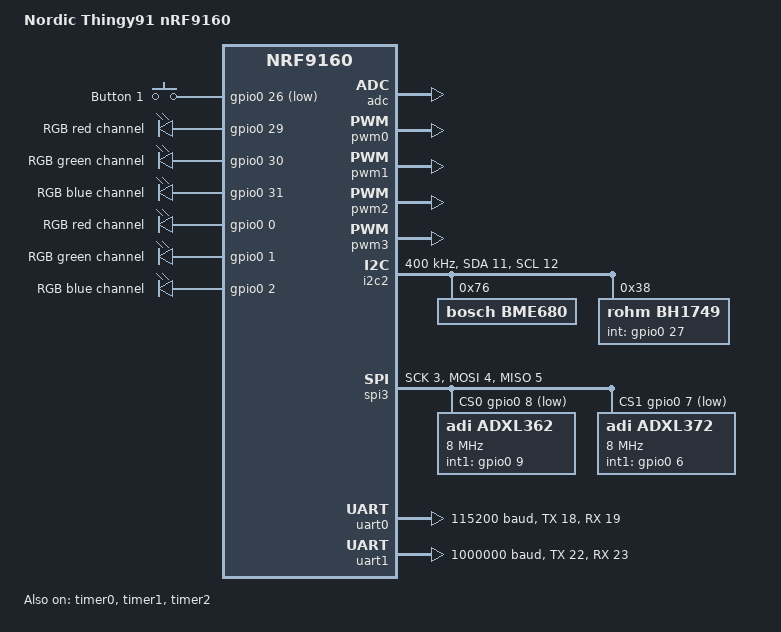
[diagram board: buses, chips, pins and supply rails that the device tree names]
/*
 * Copyright (c) 2019 Nordic Semiconductor ASA
 *
 * SPDX-License-Identifier: LicenseRef-Nordic-5-Clause
 */

/ {
	model = "Nordic Thingy91 nRF9160";
	compatible = "nordic,thingy91-nrf9160";

	chosen {
		zephyr,console = &uart0;
		zephyr,shell-uart = &uart0;
		zephyr,uart-mcumgr = &uart0;
	};

	buttons {
		compatible = "gpio-keys";

		button0: button_0 {
			gpios = <&gpio0 26 (GPIO_PULL_UP | GPIO_ACTIVE_LOW)>;
			label = "Button 1";
		};
	};

	leds {
		compatible = "gpio-leds";
		red_led: led_1 {
			gpios = <&gpio0 29 0>;
			label = "RGB red channel";
		};
		green_led: led_2 {
			gpios = <&gpio0 30 0>;
			label = "RGB green channel";
		};
		blue_led: led_3 {
			gpios = <&gpio0 31 0>;
			label = "RGB blue channel";
		};
		sense_red_led: led_4 {
			gpios = <&gpio0 0 0>;
			label = "RGB red channel";
		};
		sense_green_led: led_5 {
			gpios = <&gpio0 1 0>;
			label = "RGB green channel";
		};
		sense_blue_led: led_6 {
			gpios = <&gpio0 2 0>;
			label = "RGB blue channel";
		};
	};

	aliases {
		sw0 = &button0;
		led0 = &red_led;
		led1 = &green_led;
		led2 = &blue_led;
		sense-led0 = &sense_red_led;
		sense-led1 = &sense_green_led;
		sense-led2 = &sense_blue_led;
		rgb-pwm = &pwm0;
		buzzer-pwm = &pwm1;
		nmos-pwm = &pwm2;
	};
};

&adc {
	status = "okay";
};

&gpiote {
	status = "okay";
};

&gpio0 {
	status = "okay";
};

/* PWM0 is intended for RGB LED control */
&pwm0 {
	status = "okay";
	ch0-pin = <29>;
	ch1-pin = <30>;
	ch2-pin = <31>;
};

/* PWM1 is intended for buzzer control */
&pwm1 {
	status = "okay";
	ch0-pin = <28>;
};

/* PWM2 is intended for NMOS transistor control */
&pwm2 {
	status = "okay";
	ch0-pin = <13>;
	ch1-pin = <14>;
	ch2-pin = <15>;
	ch3-pin = <16>;
};

&pwm3 {
	status = "okay";
};

&i2c2 {
	compatible = "nordic,nrf-twim";
	status = "okay";
	sda-pin = <11>;
	scl-pin = <12>;
	clock-frequency = <I2C_BITRATE_FAST>;

	bme680@76 {
		compatible = "bosch,bme680";
		label = "BME680";
		reg = <0x76>;
	};

	bh1749@38 {
			compatible = "rohm,bh1749";
			label = "BH1749";
			reg = <0x38>;
			int-gpios = <&gpio0 27 0>;
	};
};

&spi3 {
	compatible = "nordic,nrf-spim";
	status = "okay";
	sck-pin = <3>;
	mosi-pin = <4>;
	miso-pin = <5>;
	cs-gpios = <&gpio0 8 GPIO_ACTIVE_LOW>, <&gpio0 7 GPIO_ACTIVE_LOW>;

	adxl362@0 {
		compatible = "adi,adxl362";
		label = "ADXL362";
		spi-max-frequency = <8000000>;
		reg = <0>;
		int1-gpios = <&gpio0 9 0>;
	};

	adxl372@1 {
		compatible = "adi,adxl372";
		label = "ADXL372";
		spi-max-frequency = <8000000>;
		reg = <1>;
		int1-gpios = <&gpio0 6 0>;
	};
};

&timer0 {
	status = "okay";
};

&timer1 {
	status = "okay";
};

&timer2 {
	status = "okay";
};

&uart0 {
	compatible = "nordic,nrf-uarte";
	current-speed = <115200>;
	status = "okay";
	tx-pin = <18>;
	rx-pin = <19>;
	rts-pin = <20>;
	cts-pin = <21>;
};

&uart1 {
	current-speed = <1000000>;
	status = "okay";
	tx-pin = <22>;
	rx-pin = <23>;
	rts-pin = <24>;
	cts-pin = <25>;
};

&flash0 {
	/*
	 * For more information, see:
	 * http://docs.zephyrproject.org/devices/dts/flash_partitions.html
	 */
	partitions {
		compatible = "fixed-partitions";
		#address-cells = <1>;
		#size-cells = <1>;

		boot_partition: partition@0 {
			label = "mcuboot";
			reg = <0x00000000 0x10000>;
		};
		slot0_partition: partition@10000 {
			label = "image-0";
		};
		slot0_ns_partition: partition@40000 {
			label = "image-0-nonsecure";
		};
		slot1_partition: partition@80000 {
			label = "image-1";
		};
		slot1_ns_partition: partition@b0000 {
			label = "image-1-nonsecure";
		};
		scratch_partition: partition@f0000 {
			label = "image-scratch";
			reg = <0x000f0000 0xa000>;
		};
		storage_partition: partition@fa000 {
			label = "storage";
			reg = <0x000fa000 0x00006000>;
		};
	};
};

/ {

	reserved-memory {
		#address-cells = <1>;
		#size-cells = <1>;
		ranges;

		sram0_s: image_s@20000000 {
			/* Secure image memory */
		};

		sram0_bsd: image_bsd@20010000 {
			/* BSD (shared) memory */
		};

		sram0_ns: image_ns@20020000 {
			/* Non-Secure image memory */
		};
	};
};

/* Include partition configuration file */
#include "thingy91_nrf9160_partition_conf.dts"
